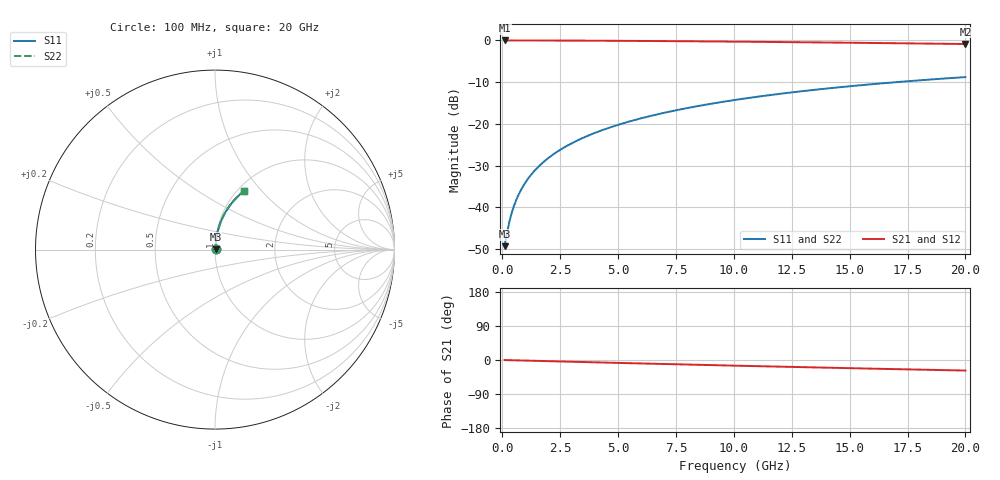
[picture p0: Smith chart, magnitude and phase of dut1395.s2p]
! Touchstone file exported from HFSS 2024.1.0
!  File:  C:/UserFiles/LocalFiles/RDL_TSV_Batchsim/temp_RDL_bottom_1395_1780372212.aedt
!  Generated:  11:53:21 AM Jun  2, 2026
!  Design:  RDL_bottom
!  Project:  temp_RDL_bottom_1395_1780372212
!  Setup:  Setup1
!  Solution:  Sweep
! Variables:
!  dtsv = 10.80580581um
!  hbump = 3um
!  htsv = 79.46um
!  ldown = 297.2um
!  lrdl = 100um
!  p = 40
!  p1 = 55.05um
!  rhole = 1um
!  t = 450um
!  tdown = 3.64um
!  trdl = 3.915915916um
!  wdown = 10.77um
!  wrdl = 20um
# GHz S MA R 50.000000
! Terminal data exported
! Port[1] = RDL1_T1
! Port[2] = RDL1_T2
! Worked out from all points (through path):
!   200 points, 100 MHz to 20 GHz, reference 50 ohm
!   highest |S21| = -0.02 dB at 100 MHz (marker M1); lowest = -0.9 dB at 20 GHz (marker M2)
!   group delay of S21, straight-line fit = 3.86 ps
!   lowest |S11| = -49.3 dB at 100 MHz (marker M3), VSWR 1.01, Z = 50.3 + j0.201 ohm
!   |S11| at or under -10 dB: start of sweep to 17.03 GHz
!   |S22| runs from -49.3 to -8.8 dB; largest |S21 - S12| = 2.7e-15
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0.1  0.003433 35.6  0.9972 -0.2  0.9972 -0.2  0.003433 35.6
! Gamma 0 0 0 0
! Port Impedance 50 0 50 0
0.2  0.00489 54.7  0.9972 -0.3  0.9972 -0.3  0.00489 54.7
0.3  0.006627 64.2  0.9971 -0.5  0.9971 -0.5  0.006627 64.2
0.4  0.008464 69.6  0.9971 -0.6  0.9971 -0.6  0.008464 69.6
0.5  0.01034 73.0  0.997 -0.8  0.997 -0.8  0.01034 73.0
0.6  0.01224 75.3  0.9969 -0.9  0.9969 -0.9  0.01224 75.3
0.8  0.01605 78.2  0.9967 -1.3  0.9967 -1.3  0.01605 78.2
1.1  0.02181 80.6  0.9965 -1.7  0.9965 -1.7  0.02181 80.6
1.5  0.02953 82.1  0.996 -2.3  0.996 -2.3  0.02953 82.1
1.8  0.03533 82.7  0.9956 -2.8  0.9956 -2.8  0.03533 82.7
2.1  0.04114 83.0  0.9952 -3.3  0.9952 -3.3  0.04114 83.0
2.7  0.05278 83.2  0.9941 -4.2  0.9941 -4.2  0.05278 83.2
3.5  0.0683 82.9  0.9923 -5.4  0.9923 -5.4  0.0683 82.9
4.2  0.08187 82.4  0.9904 -6.5  0.9904 -6.5  0.08187 82.4
5  0.09735 81.7  0.9879 -7.7  0.9879 -7.7  0.09735 81.7
5.9  0.1147 80.8  0.9846 -9.0  0.9846 -9.0  0.1147 80.8
6.8  0.132 79.8  0.981 -10.3  0.981 -10.3  0.132 79.8
8.3  0.1606 78.1  0.9743 -12.5  0.9743 -12.5  0.1606 78.1
10.1  0.1944 75.9  0.9654 -15.0  0.9654 -15.0  0.1944 75.9
13.4  0.2543 71.7  0.9468 -19.5  0.9468 -19.5  0.2543 71.7
16.7  0.3108 67.6  0.9261 -23.8  0.9261 -23.8  0.3108 67.6
20  0.3634 63.6  0.9039 -27.8  0.9039 -27.8  0.3634 63.6
